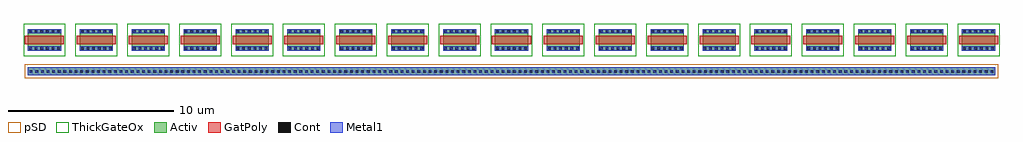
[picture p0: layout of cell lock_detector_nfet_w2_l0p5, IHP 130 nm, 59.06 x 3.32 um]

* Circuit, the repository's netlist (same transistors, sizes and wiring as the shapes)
* extracted by klt extract --deck sg13cmos5l

* cell lock_detector_nfet_w2_l0p5
* pin vsubs
.SUBCKT lock_detector_nfet_w2_l0p5 vsubs
* device instance $1 r0 *1 2.3,3.11 nfet
X$1 \$40 \$2 \$3 vsubs sg13_hv_nmos L=0.5U W=2U AS=0.8P AD=0.8P PS=4.8U PD=4.8U
* device instance $2 r0 *1 6.26,3.11 nfet
X$2 \$41 \$4 \$5 vsubs sg13_hv_nmos L=0.5U W=2U AS=0.8P AD=0.8P PS=4.8U PD=4.8U
* device instance $3 r0 *1 10.22,3.11 nfet
X$3 \$42 \$6 \$7 vsubs sg13_hv_nmos L=0.5U W=2U AS=0.8P AD=0.8P PS=4.8U PD=4.8U
* device instance $4 r0 *1 14.18,3.11 nfet
X$4 \$43 \$8 \$9 vsubs sg13_hv_nmos L=0.5U W=2U AS=0.8P AD=0.8P PS=4.8U PD=4.8U
* device instance $5 r0 *1 18.14,3.11 nfet
X$5 \$44 \$10 \$11 vsubs sg13_hv_nmos L=0.5U W=2U AS=0.8P AD=0.8P PS=4.8U
+ PD=4.8U
* device instance $6 r0 *1 22.1,3.11 nfet
X$6 \$45 \$12 \$13 vsubs sg13_hv_nmos L=0.5U W=2U AS=0.8P AD=0.8P PS=4.8U
+ PD=4.8U
* device instance $7 r0 *1 26.06,3.11 nfet
X$7 \$46 \$14 \$15 vsubs sg13_hv_nmos L=0.5U W=2U AS=0.8P AD=0.8P PS=4.8U
+ PD=4.8U
* device instance $8 r0 *1 30.02,3.11 nfet
X$8 \$47 \$16 \$17 vsubs sg13_hv_nmos L=0.5U W=2U AS=0.8P AD=0.8P PS=4.8U
+ PD=4.8U
* device instance $9 r0 *1 33.98,3.11 nfet
X$9 \$48 \$18 \$19 vsubs sg13_hv_nmos L=0.5U W=2U AS=0.8P AD=0.8P PS=4.8U
+ PD=4.8U
* device instance $10 r0 *1 37.94,3.11 nfet
X$10 \$49 \$20 \$21 vsubs sg13_hv_nmos L=0.5U W=2U AS=0.8P AD=0.8P PS=4.8U
+ PD=4.8U
* device instance $11 r0 *1 41.9,3.11 nfet
X$11 \$50 \$22 \$23 vsubs sg13_hv_nmos L=0.5U W=2U AS=0.8P AD=0.8P PS=4.8U
+ PD=4.8U
* device instance $12 r0 *1 45.86,3.11 nfet
X$12 \$51 \$24 \$25 vsubs sg13_hv_nmos L=0.5U W=2U AS=0.8P AD=0.8P PS=4.8U
+ PD=4.8U
* device instance $13 r0 *1 49.82,3.11 nfet
X$13 \$52 \$26 \$27 vsubs sg13_hv_nmos L=0.5U W=2U AS=0.8P AD=0.8P PS=4.8U
+ PD=4.8U
* device instance $14 r0 *1 53.78,3.11 nfet
X$14 \$53 \$28 \$29 vsubs sg13_hv_nmos L=0.5U W=2U AS=0.8P AD=0.8P PS=4.8U
+ PD=4.8U
* device instance $15 r0 *1 57.74,3.11 nfet
X$15 \$54 \$30 \$31 vsubs sg13_hv_nmos L=0.5U W=2U AS=0.8P AD=0.8P PS=4.8U
+ PD=4.8U
* device instance $16 r0 *1 61.7,3.11 nfet
X$16 \$55 \$32 \$33 vsubs sg13_hv_nmos L=0.5U W=2U AS=0.8P AD=0.8P PS=4.8U
+ PD=4.8U
* device instance $17 r0 *1 65.66,3.11 nfet
X$17 \$56 \$34 \$35 vsubs sg13_hv_nmos L=0.5U W=2U AS=0.8P AD=0.8P PS=4.8U
+ PD=4.8U
* device instance $18 r0 *1 69.62,3.11 nfet
X$18 \$57 \$36 \$37 vsubs sg13_hv_nmos L=0.5U W=2U AS=0.8P AD=0.8P PS=4.8U
+ PD=4.8U
* device instance $19 r0 *1 73.58,3.11 nfet
X$19 \$58 \$38 \$39 vsubs sg13_hv_nmos L=0.5U W=2U AS=0.8P AD=0.8P PS=4.8U
+ PD=4.8U
.ENDS lock_detector_nfet_w2_l0p5

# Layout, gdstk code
import gdstk
lib = gdstk.Library(unit=1e-6, precision=1e-09)
def R(c, l, rs):  # rectangles x0, y0, x1, y1
    for r in rs: c.add(gdstk.rectangle(r[:2], r[2:], *l))
def A(c, l, x, y, w, h, nx, ny, dx, dy):  # array of equal rectangles
    R(c, l, [(x+i*dx, y+j*dy, x+i*dx+w, y+j*dy+h) for i in range(nx) for j in range(ny)])
Activ = (1, 0)
GatPoly = (5, 0)
Cont = (6, 0)
Metal1 = (8, 0)
pSD = (14, 0)
ThickGateOx = (44, 0)

lock_detector_nfet_w2_l0 = lib.new_cell('lock_detector_nfet_w2_l0p5')
A(lock_detector_nfet_w2_l0, Activ, 0.89, 2.46, 2, 1.3, 19, 1, 3.14, 0)
R(lock_detector_nfet_w2_l0, Activ, [(0.89,0.96,59.41,1.46)])
A(lock_detector_nfet_w2_l0, GatPoly, 0.71, 2.86, 2.36, 0.5, 19, 1, 3.14, 0)
A(lock_detector_nfet_w2_l0, Cont, 1, 1.13, 0.16, 0.16, 172, 1, 0.34, 0)
A(lock_detector_nfet_w2_l0, Cont, 0.96, 2.53, 0.16, 0.16, 6, 2, 0.34, 1)
A(lock_detector_nfet_w2_l0, Cont, 4.1, 2.53, 0.16, 0.16, 6, 2, 0.34, 1)
A(lock_detector_nfet_w2_l0, Cont, 7.24, 2.53, 0.16, 0.16, 6, 2, 0.34, 1)
A(lock_detector_nfet_w2_l0, Cont, 10.38, 2.53, 0.16, 0.16, 6, 2, 0.34, 1)
A(lock_detector_nfet_w2_l0, Cont, 13.52, 2.53, 0.16, 0.16, 6, 2, 0.34, 1)
A(lock_detector_nfet_w2_l0, Cont, 16.66, 2.53, 0.16, 0.16, 6, 2, 0.34, 1)
A(lock_detector_nfet_w2_l0, Cont, 19.8, 2.53, 0.16, 0.16, 6, 2, 0.34, 1)
A(lock_detector_nfet_w2_l0, Cont, 22.94, 2.53, 0.16, 0.16, 6, 2, 0.34, 1)
A(lock_detector_nfet_w2_l0, Cont, 26.08, 2.53, 0.16, 0.16, 6, 2, 0.34, 1)
A(lock_detector_nfet_w2_l0, Cont, 29.22, 2.53, 0.16, 0.16, 6, 2, 0.34, 1)
A(lock_detector_nfet_w2_l0, Cont, 32.36, 2.53, 0.16, 0.16, 6, 2, 0.34, 1)
A(lock_detector_nfet_w2_l0, Cont, 35.5, 2.53, 0.16, 0.16, 6, 2, 0.34, 1)
A(lock_detector_nfet_w2_l0, Cont, 38.64, 2.53, 0.16, 0.16, 6, 2, 0.34, 1)
A(lock_detector_nfet_w2_l0, Cont, 41.78, 2.53, 0.16, 0.16, 6, 2, 0.34, 1)
A(lock_detector_nfet_w2_l0, Cont, 44.92, 2.53, 0.16, 0.16, 6, 2, 0.34, 1)
A(lock_detector_nfet_w2_l0, Cont, 48.06, 2.53, 0.16, 0.16, 6, 2, 0.34, 1)
A(lock_detector_nfet_w2_l0, Cont, 51.2, 2.53, 0.16, 0.16, 6, 2, 0.34, 1)
A(lock_detector_nfet_w2_l0, Cont, 54.34, 2.53, 0.16, 0.16, 6, 2, 0.34, 1)
A(lock_detector_nfet_w2_l0, Cont, 57.48, 2.53, 0.16, 0.16, 6, 2, 0.34, 1)
A(lock_detector_nfet_w2_l0, Metal1, 0.89, 2.46, 2, 0.26, 19, 2, 3.14, 1.04)
R(lock_detector_nfet_w2_l0, Metal1, [(0.89,0.96,59.41,1.46)])
R(lock_detector_nfet_w2_l0, pSD, [(0.71,0.78,59.59,1.64)])
A(lock_detector_nfet_w2_l0, ThickGateOx, 0.62, 2.12, 2.54, 1.98, 19, 1, 3.14, 0)

lib.write_gds('lock_detector_nfet_w2_l0p5.gds')
